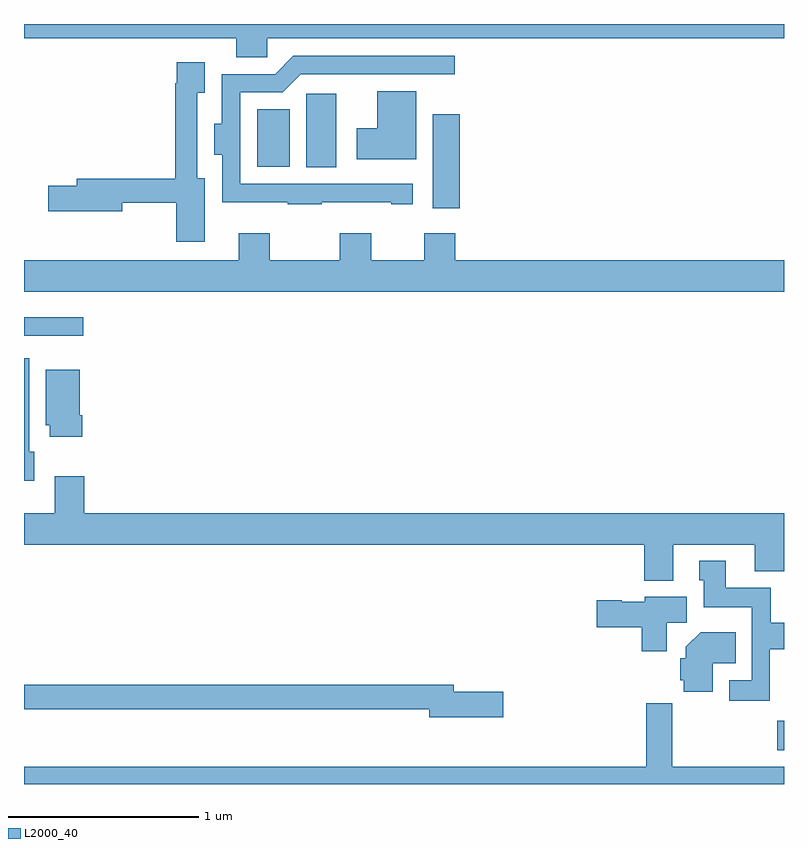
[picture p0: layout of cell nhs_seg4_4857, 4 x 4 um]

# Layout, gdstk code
import gdstk
lib = gdstk.Library(unit=1e-6, precision=1e-09)
def R(c, l, rs):  # rectangles x0, y0, x1, y1
    for r in rs: c.add(gdstk.rectangle(r[:2], r[2:], *l))
def P(c, l, *ps):  # polygons
    for p in ps: c.add(gdstk.Polygon(p, *l))
L2000_40 = (2000, 40)

nhs_seg4_4857 = lib.new_cell('nhs_seg4_4857')
R(nhs_seg4_4857, L2000_40, [(376.964,789.078,377,789.234), (373,791.259,373.312,791.356), (375.152,791.931,375.293,792.424), (374.486,792.145,374.644,792.532), (374.228,792.149,374.398,792.451)])
P(nhs_seg4_4857, L2000_40, [(374.28,792.824),(377,792.824),(377,792.9),(373,792.9),(373,792.824),(374.117,792.824),(374.117,792.726),(374.28,792.726)],
  [(374.567,791.963),(374.933,791.963),(374.933,791.952),(375.046,791.952),(375.046,792.06),(374.139,792.06),(374.139,792.54),(374.361,792.54),(374.457,792.636),(375.268,792.636),(375.268,792.732),(374.418,792.732),(374.322,792.636),(374.042,792.636),(374.042,792.376),(374,792.376),(374,792.212),(374.043,792.212),(374.043,791.963),(374.389,791.963),(374.389,791.952),(374.567,791.952)],
  [(373.951,792.088),(373.911,792.088),(373.911,792.539),(373.951,792.539),(373.951,792.7),(373.803,792.7),(373.803,792.587),(373.795,792.587),(373.795,792.086),(373.277,792.086),(373.277,792.05),(373.128,792.05),(373.128,791.915),(373.516,791.915),(373.516,791.958),(373.802,791.958),(373.802,791.754),(373.951,791.754)],
  [(375.064,792.547),(374.858,792.547),(374.858,792.352),(374.751,792.352),(374.751,792.188),(375.064,792.188)],
  [(377,791.656),(375.271,791.656),(375.271,791.8),(375.107,791.8),(375.107,791.656),(374.827,791.656),(374.827,791.8),(374.663,791.8),(374.663,791.656),(374.293,791.656),(374.293,791.8),(374.129,791.8),(374.129,791.656),(373,791.656),(373,791.492),(377,791.492)],
  [(373.054,790.65),(373.027,790.65),(373.027,791.14),(373,791.14),(373,790.496),(373.054,790.496)],
  [(373.307,790.84),(373.294,790.84),(373.294,791.08),(373.115,791.08),(373.115,790.788),(373.136,790.788),(373.136,790.728),(373.307,790.728)],
  [(376.417,790.16),(376.847,790.16),(376.847,790.019),(377,790.019),(377,790.324),(373.316,790.324),(373.316,790.519),(373.163,790.519),(373.163,790.324),(373,790.324),(373,790.16),(376.265,790.16),(376.265,789.971),(376.417,789.971)],
  [(376.926,789.608),(377,789.608),(377,789.748),(376.929,789.748),(376.929,789.934),(376.693,789.934),(376.693,790.075),(376.553,790.075),(376.553,789.972),(376.577,789.972),(376.577,789.83),(376.83,789.83),(376.83,789.447),(376.713,789.447),(376.713,789.339),(376.926,789.339)],
  [(376.383,789.748),(376.489,789.748),(376.489,789.886),(376.266,789.886),(376.266,789.859),(376.146,789.859),(376.146,789.867),(376.014,789.867),(376.014,789.725),(376.25,789.725),(376.25,789.6),(376.383,789.6)],
  [(376.624,789.536),(376.745,789.536),(376.745,789.7),(376.562,789.7),(376.484,789.622),(376.484,789.561),(376.455,789.561),(376.455,789.447),(376.472,789.447),(376.472,789.386),(376.624,789.386)],
  [(375.523,789.386),(375.262,789.386),(375.262,789.422),(373,789.422),(373,789.294),(375.134,789.294),(375.134,789.251),(375.523,789.251)],
  [(377,788.992),(376.412,788.992),(376.412,789.325),(376.276,789.325),(376.276,788.992),(373,788.992),(373,788.9),(377,788.9)])

lib.write_gds('nhs_seg4_4857.gds')
